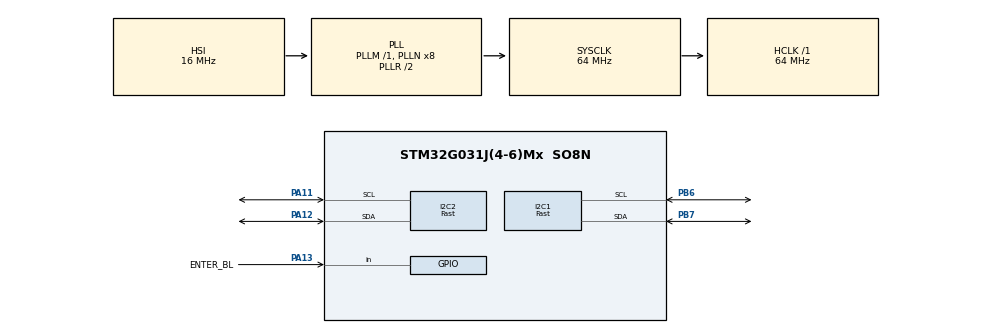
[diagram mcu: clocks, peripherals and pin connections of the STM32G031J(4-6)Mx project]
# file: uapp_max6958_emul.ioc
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I2C1.I2C_Speed_Mode=I2C_Fast
I2C1.NoStretchMode=I2C_NOSTRETCH_ENABLE
I2C1.OwnAddress=0x38
I2C1.Timing=0x00C12166
I2C2.I2C_Speed_Mode=I2C_Fast
I2C2.NoStretchMode=I2C_NOSTRETCH_ENABLE
I2C2.Timing=0x00C12166
Mcu.Family=STM32G0
Mcu.Name=STM32G031J(4-6)Mx
Mcu.Package=SO8N
NVIC.I2C1_IRQn=true\:0\:0\:false\:false\:true\:true\:true\:true
PA11\ [PA9].Mode=I2C
PA11\ [PA9].Signal=I2C2_SCL
PA12\ [PA10].Mode=I2C
PA12\ [PA10].Signal=I2C2_SDA
PA13.GPIO_Label=ENTER_BL
PA13.GPIO_PuPd=GPIO_PULLUP
PA13.Signal=GPIO_Input
PA14-BOOT0__PA15__PB5__PB6.StandardMode=true
PB0__PB1__PA8__PA11\ [PA9].StandardMode=true
PB6.GPIO_FM6=__NULL
PB6.Mode=I2C
PB6.Signal=I2C1_SCL
PB7.GPIO_FM7=__NULL
PB7.Mode=I2C
PB7.Signal=I2C1_SDA
PC14-OSC32_IN\ (PC14)__PB7__PB8__PB9.StandardMode=true
PF2\ -\ NRST__PA0__PA1__PA2.StandardMode=true
ProjectManager.HeapSize=0x200
ProjectManager.StackSize=0x400
ProjectManager.TargetToolchain=Makefile
RCC.ADCFreq_Value=64000000
RCC.AHBFreq_Value=64000000
RCC.CortexFreq_Value=64000000
RCC.EXTERNAL_CLOCK_VALUE=12288000
RCC.HCLKFreq_Value=64000000
RCC.HSE_VALUE=8000000
RCC.HSI_VALUE=16000000
RCC.LSE_VALUE=32768
RCC.SYSCLKFreq_VALUE=64000000
RCC.SYSCLKSource=RCC_SYSCLKSOURCE_PLLCLK
RCC.VCOOutputFreq_Value=128000000
VP_CRC_VS_CRC.Mode=CRC_Activate
board=custom

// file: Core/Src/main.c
/* USER CODE BEGIN Header */
/**
  ******************************************************************************
  * @file           : main.c
  * @brief          : Main program body
  ******************************************************************************
  * @attention
  *
  * Copyright (c) 2025 STMicroelectronics.
  * All rights reserved.
  *
  * This software is licensed under terms that can be found in the LICENSE file
  * in the root directory of this software component.
  * If no LICENSE file comes with this software, it is provided AS-IS.
  *
  ******************************************************************************
  */
/* USER CODE END Header */
#include "main.h"

/* USER CODE BEGIN Includes */
#include "display.h"
#include "slave.h"
#include "button.h"
#include "bootloader.h"
/* USER CODE END Includes */

CRC_HandleTypeDef hcrc;

I2C_HandleTypeDef hi2c1;
I2C_HandleTypeDef hi2c2;

void SystemClock_Config(void);
static void MX_GPIO_Init(void);
static void MX_I2C1_Init(void);
static void MX_I2C2_Init(void);
static void MX_CRC_Init(void);

/* USER CODE BEGIN 0 */
/* size and crc are being replaced by scripts/fix_size_crc.py */
__attribute__((section(".tombstone_uapp")))
__attribute__((used))
const tombstone_t tombstone = {
    .magic = UAPP_MAGIC,
    .ver_major = 1,
    .ver_minor = 2,
    .size = 0x5A53, // ASCII: SZ
    .crc = 0x00435243, // ASCII: CRC + \0
    .reserved = {0xFF, 0xFF, 0xFF, 0xFF, 0xFF, 0xFF, 0xFF, 0xFF, 0xFF, 0xFF,0xFF, 0xFF, 0xFF, 0xFF,  0xFF, 0xFF, 0xFF, 0xFF },
};
/* USER CODE END 0 */

int main(void)
{

  /* MCU Configuration--------------------------------------------------------*/

  /* Reset of all peripherals, Initializes the Flash interface and the Systick. */
  HAL_Init();

  /* Configure the system clock */
  SystemClock_Config();

  /* Initialize all configured peripherals */
  MX_GPIO_Init();
  MX_I2C1_Init();
  MX_I2C2_Init();
  MX_CRC_Init();
  /* USER CODE BEGIN 2 */
  Display_Init();
  Slave_Init();
  /* USER CODE END 2 */

  /* Infinite loop */
  /* USER CODE BEGIN WHILE */
  while (1)
  {
    Display_Tick();
    Slave_Poll();
    /* USER CODE END WHILE */

  }
}

void SystemClock_Config(void)
{
  RCC_OscInitTypeDef RCC_OscInitStruct = {0};
  RCC_ClkInitTypeDef RCC_ClkInitStruct = {0};

  /** Configure the main internal regulator output voltage
  */
  HAL_PWREx_ControlVoltageScaling(PWR_REGULATOR_VOLTAGE_SCALE1);

  /** Initializes the RCC Oscillators according to the specified parameters
  * in the RCC_OscInitTypeDef structure.
  */
  RCC_OscInitStruct.OscillatorType = RCC_OSCILLATORTYPE_HSI;
  RCC_OscInitStruct.HSIState = RCC_HSI_ON;
  RCC_OscInitStruct.HSIDiv = RCC_HSI_DIV1;
  RCC_OscInitStruct.HSICalibrationValue = RCC_HSICALIBRATION_DEFAULT;
  RCC_OscInitStruct.PLL.PLLState = RCC_PLL_ON;
  RCC_OscInitStruct.PLL.PLLSource = RCC_PLLSOURCE_HSI;
  RCC_OscInitStruct.PLL.PLLM = RCC_PLLM_DIV1;
  RCC_OscInitStruct.PLL.PLLN = 8;
  RCC_OscInitStruct.PLL.PLLP = RCC_PLLP_DIV2;
  RCC_OscInitStruct.PLL.PLLQ = RCC_PLLQ_DIV2;
  RCC_OscInitStruct.PLL.PLLR = RCC_PLLR_DIV2;
  if (HAL_RCC_OscConfig(&RCC_OscInitStruct) != HAL_OK)
  {
    Error_Handler();
  }

  /** Initializes the CPU, AHB and APB buses clocks
  */
  RCC_ClkInitStruct.ClockType = RCC_CLOCKTYPE_HCLK|RCC_CLOCKTYPE_SYSCLK
                              |RCC_CLOCKTYPE_PCLK1;
  RCC_ClkInitStruct.SYSCLKSource = RCC_SYSCLKSOURCE_PLLCLK;
  RCC_ClkInitStruct.AHBCLKDivider = RCC_SYSCLK_DIV1;
  RCC_ClkInitStruct.APB1CLKDivider = RCC_HCLK_DIV1;

  if (HAL_RCC_ClockConfig(&RCC_ClkInitStruct, FLASH_LATENCY_2) != HAL_OK)
  {
    Error_Handler();
  }
}

static void MX_CRC_Init(void)
{

  hcrc.Instance = CRC;
  hcrc.Init.DefaultPolynomialUse = DEFAULT_POLYNOMIAL_ENABLE;
  hcrc.Init.DefaultInitValueUse = DEFAULT_INIT_VALUE_ENABLE;
  hcrc.Init.InputDataInversionMode = CRC_INPUTDATA_INVERSION_NONE;
  hcrc.Init.OutputDataInversionMode = CRC_OUTPUTDATA_INVERSION_DISABLE;
  hcrc.InputDataFormat = CRC_INPUTDATA_FORMAT_WORDS;
  if (HAL_CRC_Init(&hcrc) != HAL_OK)
  {
    Error_Handler();
  }

}

static void MX_I2C1_Init(void)
{

  hi2c1.Instance = I2C1;
  hi2c1.Init.Timing = 0x00C12166;
  hi2c1.Init.OwnAddress1 = (MAX6958_SLAVE_I2C_ADDR << 1);
  hi2c1.Init.AddressingMode = I2C_ADDRESSINGMODE_7BIT;
  hi2c1.Init.DualAddressMode = I2C_DUALADDRESS_ENABLE;
  hi2c1.Init.OwnAddress2 = (BOOTLOADER_TRIGGER_I2C_ADDR << 1);
  hi2c1.Init.OwnAddress2Masks = I2C_OA2_NOMASK;
  hi2c1.Init.GeneralCallMode = I2C_GENERALCALL_DISABLE;
  hi2c1.Init.NoStretchMode = I2C_NOSTRETCH_ENABLE;
  if (HAL_I2C_Init(&hi2c1) != HAL_OK)
  {
    Error_Handler();
  }

  /** Configure Analogue filter
  */
  if (HAL_I2CEx_ConfigAnalogFilter(&hi2c1, I2C_ANALOGFILTER_ENABLE) != HAL_OK)
  {
    Error_Handler();
  }

  /** Configure Digital filter
  */
  if (HAL_I2CEx_ConfigDigitalFilter(&hi2c1, 0) != HAL_OK)
  {
    Error_Handler();
  }

}

static void MX_I2C2_Init(void)
{

  hi2c2.Instance = I2C2;
  hi2c2.Init.Timing = 0x00C12166;
  hi2c2.Init.OwnAddress1 = 0;
  hi2c2.Init.AddressingMode = I2C_ADDRESSINGMODE_7BIT;
  hi2c2.Init.DualAddressMode = I2C_DUALADDRESS_DISABLE;
  hi2c2.Init.OwnAddress2 = 0;
  hi2c2.Init.OwnAddress2Masks = I2C_OA2_NOMASK;
  hi2c2.Init.GeneralCallMode = I2C_GENERALCALL_DISABLE;
  hi2c2.Init.NoStretchMode = I2C_NOSTRETCH_ENABLE;
  if (HAL_I2C_Init(&hi2c2) != HAL_OK)
  {
    Error_Handler();
  }

  /** Configure Analogue filter
  */
  if (HAL_I2CEx_ConfigAnalogFilter(&hi2c2, I2C_ANALOGFILTER_ENABLE) != HAL_OK)
  {
    Error_Handler();
  }

  /** Configure Digital filter
  */
  if (HAL_I2CEx_ConfigDigitalFilter(&hi2c2, 0) != HAL_OK)
  {
    Error_Handler();
  }

}

static void MX_GPIO_Init(void)
{
  GPIO_InitTypeDef GPIO_InitStruct = {0};

  /* GPIO Ports Clock Enable */
  __HAL_RCC_GPIOB_CLK_ENABLE();
  __HAL_RCC_GPIOA_CLK_ENABLE();

  /*Configure GPIO pin : ENTER_BL_Pin */
  GPIO_InitStruct.Pin = ENTER_BL_Pin;
  GPIO_InitStruct.Mode = GPIO_MODE_INPUT;
  GPIO_InitStruct.Pull = GPIO_PULLUP;
  HAL_GPIO_Init(ENTER_BL_GPIO_Port, &GPIO_InitStruct);

}

void Error_Handler(void)
{
  __disable_irq();
  while (1)
  {
  }
}
